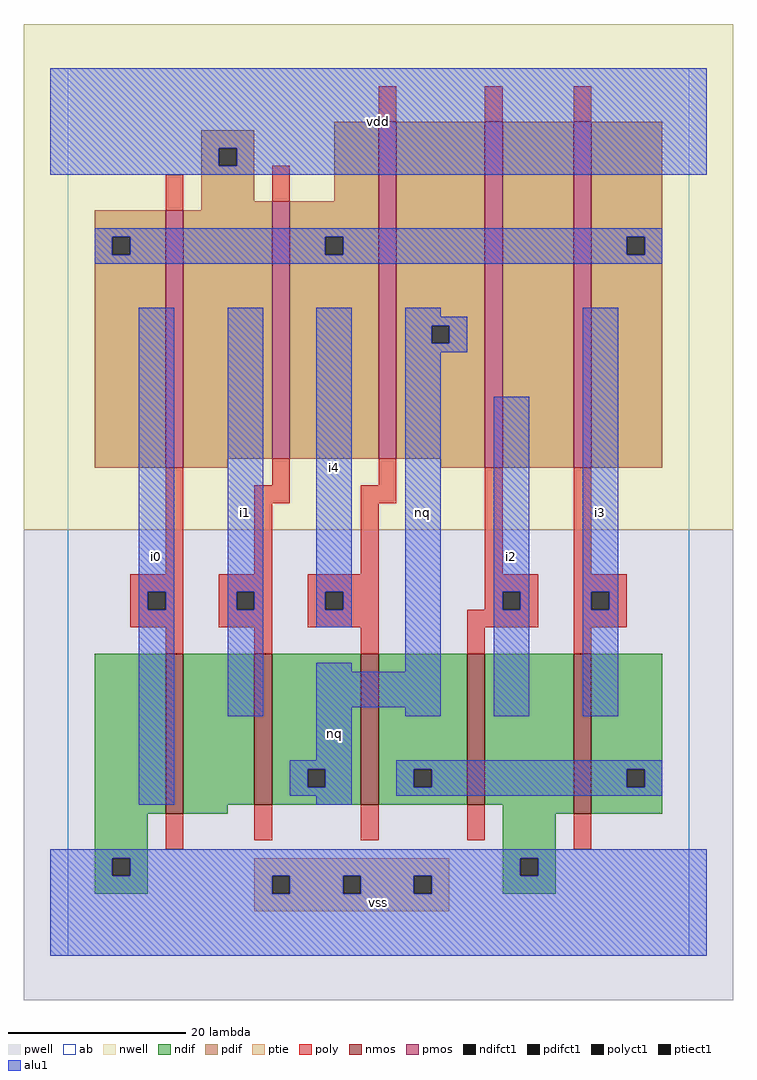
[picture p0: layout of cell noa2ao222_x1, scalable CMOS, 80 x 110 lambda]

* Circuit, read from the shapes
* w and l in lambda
.subckt noa2ao222_x1 i0 i1 i2 i3 i4 nq vdd vss
M1 n1 i0 vss vss nfet w=18 l=2
M2 nq i1 n1 vss nfet w=17 l=2
M3 n2 i4 nq vss nfet w=17 l=2
M4 vss i2 n2 vss nfet w=17 l=2
M5 n2 i3 vss vss nfet w=18 l=2
M6 vdd i0 n3 n4 pfet w=29 l=2
M7 n3 i1 vdd n4 pfet w=29 l=2
M8 nq i4 n3 n4 pfet w=38 l=2
M9 n5 i2 nq n4 pfet w=39 l=2
M10 n3 i3 n5 n4 pfet w=39 l=2
.ends

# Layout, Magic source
magic
tech scmos
<< ab >>
rect 0 0 70 100
<< nwell >>
rect -5 48 75 105
<< pwell >>
rect -5 -5 75 48
<< poly >>
rect 35 94 37 98
rect 47 94 49 98
rect 57 94 59 98
rect 11 84 13 88
rect 23 85 25 89
rect 11 43 13 55
rect 23 53 25 56
rect 35 53 37 56
rect 21 51 25 53
rect 33 51 37 53
rect 21 43 23 51
rect 33 43 35 51
rect 7 41 13 43
rect 7 39 9 41
rect 11 39 13 41
rect 7 37 13 39
rect 17 41 23 43
rect 17 39 19 41
rect 21 39 23 41
rect 17 37 23 39
rect 27 41 35 43
rect 27 39 29 41
rect 31 39 35 41
rect 47 43 49 55
rect 57 43 59 55
rect 47 41 53 43
rect 47 39 49 41
rect 51 39 53 41
rect 27 37 35 39
rect 11 34 13 37
rect 21 34 23 37
rect 33 34 35 37
rect 45 37 53 39
rect 57 41 63 43
rect 57 39 59 41
rect 61 39 63 41
rect 57 37 63 39
rect 45 34 47 37
rect 57 34 59 37
rect 11 12 13 16
rect 21 13 23 17
rect 33 13 35 17
rect 45 13 47 17
rect 57 12 59 16
<< ndif >>
rect 3 16 11 34
rect 13 17 21 34
rect 23 21 33 34
rect 23 19 27 21
rect 29 19 33 21
rect 23 17 33 19
rect 35 21 45 34
rect 35 19 39 21
rect 41 19 45 21
rect 35 17 45 19
rect 47 17 57 34
rect 13 16 18 17
rect 3 11 9 16
rect 49 16 57 17
rect 59 21 67 34
rect 59 19 63 21
rect 65 19 67 21
rect 59 16 67 19
rect 49 11 55 16
rect 3 9 5 11
rect 7 9 9 11
rect 3 7 9 9
rect 49 9 51 11
rect 53 9 55 11
rect 49 7 55 9
<< pdif >>
rect 15 91 21 93
rect 15 89 17 91
rect 19 89 21 91
rect 15 85 21 89
rect 30 85 35 94
rect 15 84 23 85
rect 3 81 11 84
rect 3 79 5 81
rect 7 79 11 81
rect 3 55 11 79
rect 13 56 23 84
rect 25 81 35 85
rect 25 79 29 81
rect 31 79 35 81
rect 25 56 35 79
rect 37 71 47 94
rect 37 69 41 71
rect 43 69 47 71
rect 37 56 47 69
rect 13 55 18 56
rect 42 55 47 56
rect 49 55 57 94
rect 59 81 67 94
rect 59 79 63 81
rect 65 79 67 81
rect 59 55 67 79
<< alu1 >>
rect -2 91 72 100
rect -2 89 17 91
rect 19 89 72 91
rect -2 88 72 89
rect 3 81 67 82
rect 3 79 5 81
rect 7 79 29 81
rect 31 79 63 81
rect 65 79 67 81
rect 3 78 67 79
rect 8 41 12 73
rect 8 39 9 41
rect 11 39 12 41
rect 8 17 12 39
rect 18 41 22 73
rect 18 39 19 41
rect 21 39 22 41
rect 18 27 22 39
rect 28 41 32 73
rect 28 39 29 41
rect 31 39 32 41
rect 28 37 32 39
rect 38 72 42 73
rect 38 71 45 72
rect 38 69 41 71
rect 43 69 45 71
rect 38 68 45 69
rect 28 32 32 33
rect 38 32 42 68
rect 28 28 42 32
rect 28 22 32 28
rect 38 27 42 28
rect 48 41 52 63
rect 48 39 49 41
rect 51 39 52 41
rect 48 27 52 39
rect 58 41 62 73
rect 58 39 59 41
rect 61 39 62 41
rect 58 27 62 39
rect 25 21 32 22
rect 25 19 27 21
rect 29 19 32 21
rect 25 18 32 19
rect 37 21 67 22
rect 37 19 39 21
rect 41 19 63 21
rect 65 19 67 21
rect 37 18 67 19
rect 28 17 32 18
rect -2 11 72 12
rect -2 9 5 11
rect 7 9 51 11
rect 53 9 72 11
rect -2 7 23 9
rect 25 7 31 9
rect 33 7 39 9
rect 41 7 72 9
rect -2 0 72 7
<< ptie >>
rect 21 9 43 11
rect 21 7 23 9
rect 25 7 31 9
rect 33 7 39 9
rect 41 7 43 9
rect 21 5 43 7
<< nmos >>
rect 11 16 13 34
rect 21 17 23 34
rect 33 17 35 34
rect 45 17 47 34
rect 57 16 59 34
<< pmos >>
rect 11 55 13 84
rect 23 56 25 85
rect 35 56 37 94
rect 47 55 49 94
rect 57 55 59 94
<< polyct1 >>
rect 9 39 11 41
rect 19 39 21 41
rect 29 39 31 41
rect 49 39 51 41
rect 59 39 61 41
<< ndifct1 >>
rect 27 19 29 21
rect 39 19 41 21
rect 63 19 65 21
rect 5 9 7 11
rect 51 9 53 11
<< ptiect1 >>
rect 23 7 25 9
rect 31 7 33 9
rect 39 7 41 9
<< pdifct1 >>
rect 17 89 19 91
rect 5 79 7 81
rect 29 79 31 81
rect 41 69 43 71
rect 63 79 65 81
<< labels >>
rlabel alu1 10 45 10 45 6 i0
rlabel alu1 30 25 30 25 6 nq
rlabel alu1 20 50 20 50 6 i1
rlabel alu1 30 55 30 55 6 i4
rlabel alu1 35 6 35 6 6 vss
rlabel alu1 50 45 50 45 6 i2
rlabel alu1 40 50 40 50 6 nq
rlabel alu1 35 94 35 94 6 vdd
rlabel alu1 60 50 60 50 6 i3
<< end >>
